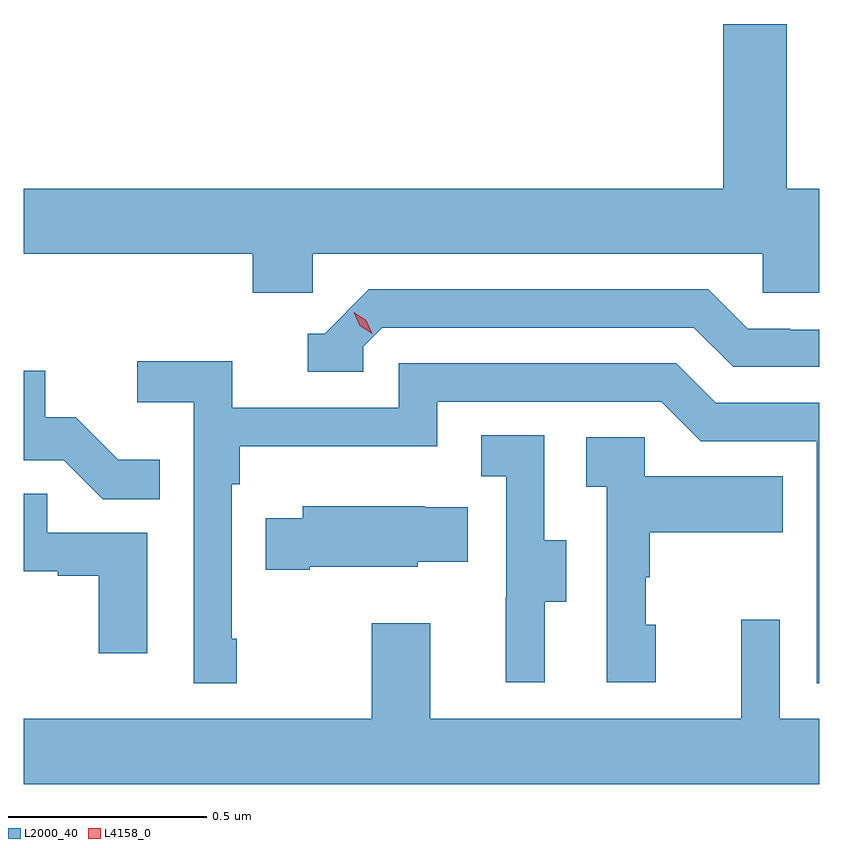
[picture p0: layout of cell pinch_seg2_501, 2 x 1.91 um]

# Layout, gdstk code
import gdstk
lib = gdstk.Library(unit=1e-6, precision=1e-09)
def P(c, l, *ps):  # polygons
    for p in ps: c.add(gdstk.Polygon(p, *l))
L2000_40 = (2000, 40)
L4158_0 = (4158, 0)

pinch_seg2_501 = lib.new_cell('pinch_seg2_501')
P(pinch_seg2_501, L2000_40, [(983.526,586.364),(984.657,586.364),(984.657,586.266),(984.799,586.266),(984.799,586.528),(984.717,586.528),(984.717,586.942),(984.557,586.942),(984.557,586.528),(982.799,586.528),(982.799,586.364),(983.375,586.364),(983.375,586.266),(983.526,586.266)],
  [(983.652,586.131),(983.7,586.179),(984.483,586.179),(984.582,586.08),(984.799,586.08),(984.799,586.173),(984.726,586.173),(984.726,586.176),(984.619,586.176),(984.52,586.275),(983.667,586.275),(983.556,586.164),(983.513,586.164),(983.513,586.068),(983.652,586.068)],
  [(983.335,585.397),(983.322,585.397),(983.322,585.785),(983.342,585.785),(983.342,585.881),(983.838,585.881),(983.838,585.993),(984.402,585.993),(984.501,585.894),(984.792,585.894),(984.792,585.285),(984.799,585.285),(984.799,585.99),(984.538,585.99),(984.439,586.089),(983.742,586.089),(983.742,585.978),(983.324,585.978),(983.324,586.094),(983.085,586.094),(983.085,585.992),(983.226,585.992),(983.226,585.285),(983.335,585.285)],
  [(983.141,585.847),(983.037,585.847),(982.93,585.954),(982.854,585.954),(982.854,586.071),(982.799,586.071),(982.799,585.846),(982.9,585.846),(982.998,585.748),(983.141,585.748)],
  [(984.109,585.49),(984.163,585.49),(984.163,585.645),(984.108,585.645),(984.108,585.908),(983.949,585.908),(983.949,585.805),(984.012,585.805),(984.012,585.501),(984.011,585.501),(984.011,585.288),(984.109,585.288)],
  [(984.388,585.432),(984.363,585.432),(984.363,585.551),(984.373,585.551),(984.373,585.665),(984.707,585.665),(984.707,585.805),(984.36,585.805),(984.36,585.903),(984.213,585.903),(984.213,585.779),(984.264,585.779),(984.264,585.288),(984.388,585.288)],
  [(983.11,585.663),(982.859,585.663),(982.859,585.761),(982.799,585.761),(982.799,585.567),(982.885,585.567),(982.885,585.555),(982.988,585.555),(982.988,585.36),(983.11,585.36)],
  [(983.518,585.578),(983.79,585.578),(983.79,585.59),(983.915,585.59),(983.915,585.727),(983.807,585.727),(983.807,585.73),(983.501,585.73),(983.501,585.7),(983.407,585.7),(983.407,585.571),(983.518,585.571)],
  [(984.799,585.196),(984.699,585.196),(984.699,585.445),(984.602,585.445),(984.602,585.196),(983.821,585.196),(983.821,585.436),(983.674,585.436),(983.674,585.196),(982.799,585.196),(982.799,585.032),(984.799,585.032)])
P(pinch_seg2_501, L4158_0, [(983.675,586.164),(983.644,586.184),(983.629,586.217),(983.629,586.217),(983.629,586.217),(983.66,586.197),(983.675,586.164),(983.675,586.164)])

lib.write_gds('pinch_seg2_501.gds')
